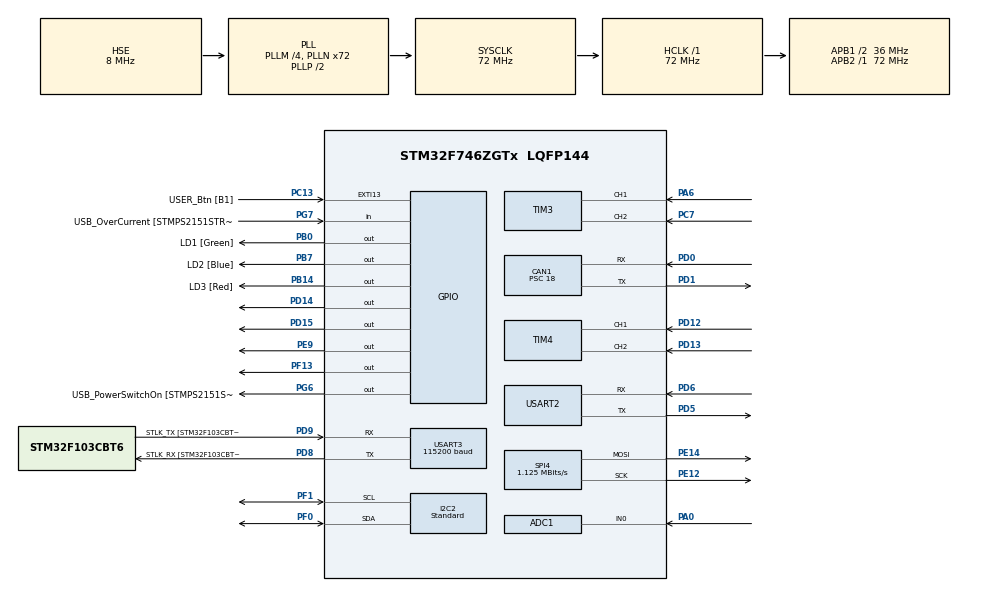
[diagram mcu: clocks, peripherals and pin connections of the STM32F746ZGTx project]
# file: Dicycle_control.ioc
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ADC1.Channel-0\#ChannelRegularConversion=ADC_CHANNEL_0
ADC1.ClockPrescaler=ADC_CLOCK_SYNC_PCLK_DIV4
ADC1.ContinuousConvMode=ENABLE
ADC1.DMAContinuousRequests=ENABLE
ADC1.DiscontinuousConvMode=DISABLE
ADC1.ExternalTrigConv=ADC_SOFTWARE_START
ADC1.NbrOfConversion=1
ADC1.NbrOfConversionFlag=1
ADC1.Rank-0\#ChannelRegularConversion=1
ADC1.SamplingTime-0\#ChannelRegularConversion=ADC_SAMPLETIME_480CYCLES
ADC1.ScanConvMode=ADC_SCAN_ENABLE
ADC1.master=1
CAN1.BS1=CAN_BS1_2TQ
CAN1.CalculateBaudRate=500000
CAN1.CalculateTimeBit=2000
CAN1.CalculateTimeQuantum=500.0
CAN1.Prescaler=18
Dma.ADC1.0.Direction=DMA_PERIPH_TO_MEMORY
Dma.ADC1.0.FIFOMode=DMA_FIFOMODE_DISABLE
Dma.ADC1.0.Instance=DMA2_Stream0
Dma.ADC1.0.MemDataAlignment=DMA_MDATAALIGN_HALFWORD
Dma.ADC1.0.MemInc=DMA_MINC_ENABLE
Dma.ADC1.0.Mode=DMA_CIRCULAR
Dma.ADC1.0.PeriphDataAlignment=DMA_PDATAALIGN_HALFWORD
Dma.ADC1.0.PeriphInc=DMA_PINC_DISABLE
Dma.ADC1.0.Priority=DMA_PRIORITY_LOW
Dma.Request0=ADC1
Dma.Request1=USART2_RX
Dma.Request2=USART3_TX
Dma.USART2_RX.1.Direction=DMA_PERIPH_TO_MEMORY
Dma.USART2_RX.1.FIFOMode=DMA_FIFOMODE_DISABLE
Dma.USART2_RX.1.Instance=DMA1_Stream5
Dma.USART2_RX.1.MemDataAlignment=DMA_MDATAALIGN_BYTE
Dma.USART2_RX.1.MemInc=DMA_MINC_ENABLE
Dma.USART2_RX.1.Mode=DMA_NORMAL
Dma.USART2_RX.1.PeriphDataAlignment=DMA_PDATAALIGN_BYTE
Dma.USART2_RX.1.PeriphInc=DMA_PINC_DISABLE
Dma.USART2_RX.1.Priority=DMA_PRIORITY_LOW
Dma.USART3_TX.2.Direction=DMA_MEMORY_TO_PERIPH
Dma.USART3_TX.2.FIFOMode=DMA_FIFOMODE_DISABLE
Dma.USART3_TX.2.Instance=DMA1_Stream3
Dma.USART3_TX.2.MemDataAlignment=DMA_MDATAALIGN_BYTE
Dma.USART3_TX.2.MemInc=DMA_MINC_ENABLE
Dma.USART3_TX.2.Mode=DMA_NORMAL
Dma.USART3_TX.2.PeriphDataAlignment=DMA_PDATAALIGN_BYTE
Dma.USART3_TX.2.PeriphInc=DMA_PINC_DISABLE
Dma.USART3_TX.2.Priority=DMA_PRIORITY_MEDIUM
I2C2.I2C_Speed_Mode=I2C_Standard
I2C2.Timing=0x00808CD2
Mcu.Family=STM32F7
Mcu.Name=STM32F746ZGTx
Mcu.Package=LQFP144
NVIC.ADC_IRQn=true\:0\:0\:false\:false\:true\:true\:true\:true
NVIC.CAN1_RX0_IRQn=true\:0\:0\:false\:false\:true\:true\:true\:true
NVIC.DMA1_Stream3_IRQn=true\:0\:0\:false\:false\:true\:false\:true\:true
NVIC.DMA1_Stream5_IRQn=true\:0\:0\:false\:false\:true\:false\:true\:true
NVIC.DMA2_Stream0_IRQn=true\:0\:0\:false\:false\:true\:false\:true\:true
NVIC.EXTI15_10_IRQn=true\:0\:0\:false\:false\:true\:true\:true\:true
NVIC.PriorityGroup=NVIC_PRIORITYGROUP_4
NVIC.SPI4_IRQn=true\:0\:0\:false\:false\:true\:true\:true\:true
NVIC.TIM1_UP_TIM10_IRQn=true\:2\:0\:true\:false\:true\:true\:true\:true
NVIC.TIM5_IRQn=true\:0\:0\:false\:false\:true\:true\:true\:true
NVIC.TIM6_DAC_IRQn=true\:0\:0\:false\:false\:true\:true\:true\:true
NVIC.TIM7_IRQn=true\:0\:0\:false\:false\:true\:true\:true\:true
NVIC.USART2_IRQn=true\:0\:0\:true\:false\:true\:true\:true\:true
NVIC.USART3_IRQn=true\:3\:0\:true\:false\:true\:true\:true\:true
PA0/WKUP.Signal=ADCx_IN0
PA1.GPIO_Label=RMII_REF_CLK [LAN8742A-CZ-TR_REFCLK0]
PA1.Signal=ETH_REF_CLK
PA10.GPIO_Label=USB_ID
PA10.Signal=USB_OTG_FS_ID
PA11.GPIO_Label=USB_DM
PA11.Signal=USB_OTG_FS_DM
PA12.GPIO_Label=USB_DP
PA12.Signal=USB_OTG_FS_DP
PA13.GPIO_Label=TMS
PA13.Mode=Serial_Wire
PA13.Signal=SYS_JTMS-SWDIO
PA14.GPIO_Label=TCK
PA14.Mode=Serial_Wire
PA14.Signal=SYS_JTCK-SWCLK
PA2.GPIO_Label=RMII_MDIO [LAN8742A-CZ-TR_MDIO]
PA2.Signal=ETH_MDIO
PA6.Signal=S_TIM3_CH1
PA7.GPIO_Label=RMII_CRS_DV [LAN8742A-CZ-TR_CRS_DV]
PA7.Signal=ETH_CRS_DV
PA8.GPIO_Label=USB_SOF [TP1]
PA8.Signal=USB_OTG_FS_SOF
PA9.GPIO_Label=USB_VBUS
PA9.Signal=USB_OTG_FS_VBUS
PB0.GPIO_Label=LD1 [Green]
PB0.Signal=GPIO_Output
PB13.GPIO_Label=RMII_TXD1 [LAN8742A-CZ-TR_TXD1]
PB13.Signal=ETH_TXD1
PB14.GPIO_Label=LD3 [Red]
PB14.Signal=GPIO_Output
PB3.GPIO_Label=SW0
PB3.Signal=SYS_JTDO-SWO
PB7.GPIO_Label=LD2 [Blue]
PB7.Signal=GPIO_Output
PC1.GPIO_Label=RMII_MDC [LAN8742A-CZ-TR_MDC]
PC1.Signal=ETH_MDC
PC13.GPIO_Label=USER_Btn [B1]
PC13.Signal=GPXTI13
PC14/OSC32_IN.Mode=LSE-External-Oscillator
PC14/OSC32_IN.Signal=RCC_OSC32_IN
PC15/OSC32_OUT.Mode=LSE-External-Oscillator
PC15/OSC32_OUT.Signal=RCC_OSC32_OUT
PC4.GPIO_Label=RMII_RXD0 [LAN8742A-CZ-TR_RXD0]
PC4.Signal=ETH_RXD0
PC5.GPIO_Label=RMII_RXD1 [LAN8742A-CZ-TR_RXD1]
PC5.Signal=ETH_RXD1
PC7.Signal=S_TIM3_CH2
PD0.Mode=CAN_Activate
PD0.Signal=CAN1_RX
PD1.Mode=CAN_Activate
PD1.Signal=CAN1_TX
PD12.Signal=S_TIM4_CH1
PD13.Signal=S_TIM4_CH2
PD14.Signal=GPIO_Output
PD15.Signal=GPIO_Output
PD5.Mode=Asynchronous
PD5.Signal=USART2_TX
PD6.Mode=Asynchronous
PD6.Signal=USART2_RX
PD8.GPIO_Label=STLK_RX [STM32F103CBT6_PA3]
PD8.GPIO_PuPd=GPIO_PULLUP
PD8.Mode=Asynchronous
PD8.Signal=USART3_TX
PD9.GPIO_Label=STLK_TX [STM32F103CBT6_PA2]
PD9.GPIO_PuPd=GPIO_PULLUP
PD9.Mode=Asynchronous
PD9.Signal=USART3_RX
PE12.Mode=TX_Only_Simplex_Unidirect_Master
PE12.Signal=SPI4_SCK
PE14.Mode=TX_Only_Simplex_Unidirect_Master
PE14.Signal=SPI4_MOSI
PE9.Signal=GPIO_Output
PF0.Mode=I2C
PF0.Signal=I2C2_SDA
PF1.Mode=I2C
PF1.Signal=I2C2_SCL
PF13.Signal=GPIO_Output
PG11.GPIO_Label=RMII_TX_EN [LAN8742A-CZ-TR_TXEN]
PG11.Signal=ETH_TX_EN
PG13.GPIO_Label=RMII_TXD0 [LAN8742A-CZ-TR_TXD0]
PG13.Signal=ETH_TXD0
PG6.GPIO_Label=USB_PowerSwitchOn [STMPS2151STR_EN]
PG6.Signal=GPIO_Output
PG7.GPIO_Label=USB_OverCurrent [STMPS2151STR_FAULT]
PG7.Signal=GPIO_Input
PH0/OSC_IN.GPIO_Label=MCO [STM32F103CBT6_PA8]
PH0/OSC_IN.Mode=HSE-External-Oscillator
PH0/OSC_IN.Signal=RCC_OSC_IN
PH1/OSC_OUT.Mode=HSE-External-Oscillator
PH1/OSC_OUT.Signal=RCC_OSC_OUT
ProjectManager.HeapSize=0x200
ProjectManager.StackSize=0x400
ProjectManager.TargetToolchain=STM32CubeIDE
RCC.48MHZClocksFreq_Value=24000000
RCC.AHBFreq_Value=72000000
RCC.APB1CLKDivider=RCC_HCLK_DIV2
RCC.APB1Freq_Value=36000000
RCC.APB1TimFreq_Value=72000000
RCC.APB2Freq_Value=72000000
RCC.APB2TimFreq_Value=72000000
RCC.CortexFreq_Value=72000000
RCC.HCLKFreq_Value=72000000
RCC.HSE_VALUE=8000000
RCC.HSI_VALUE=16000000
RCC.PLLM=4
RCC.PLLMUL=RCC_PLL_MUL9
RCC.PLLN=72
RCC.PLLQ=3
RCC.PLLSourceVirtual=RCC_PLLSOURCE_HSE
RCC.PRESCALERUSB=RCC_USBCLKSOURCE_PLL_DIV1_5
RCC.SYSCLKFreq_VALUE=72000000
RCC.SYSCLKSource=RCC_SYSCLKSOURCE_PLLCLK
RCC.SYSCLKSourceVirtual=RCC_SYSCLKSOURCE_PLLCLK
RCC.USBFreq_Value=48000000
RCC.VCOOutputFreq_Value=144000000
SH.ADCx_IN0.0=ADC1_IN0,IN0
SH.S_TIM3_CH1.0=TIM3_CH1,Encoder_Interface
SH.S_TIM3_CH2.0=TIM3_CH2,Encoder_Interface
SH.S_TIM4_CH1.0=TIM4_CH1,Encoder_Interface
SH.S_TIM4_CH2.0=TIM4_CH2,Encoder_Interface
SPI4.BaudRatePrescaler=SPI_BAUDRATEPRESCALER_64
SPI4.CLKPhase=SPI_PHASE_1EDGE
SPI4.CLKPolarity=SPI_POLARITY_LOW
SPI4.CalculateBaudRate=1.125 MBits/s
SPI4.DataSize=SPI_DATASIZE_8BIT
SPI4.Direction=SPI_DIRECTION_2LINES
SPI4.Mode=SPI_MODE_MASTER
SPI4.VirtualType=VM_MASTER
TIM1.Period=1999
TIM1.Prescaler=719
TIM3.EncoderMode=TIM_ENCODERMODE_TI12
TIM4.EncoderMode=TIM_ENCODERMODE_TI12
TIM5.Period=1999
TIM5.Prescaler=719
TIM6.Period=19999
TIM6.Prescaler=719
TIM7.Period=19999
TIM7.Prescaler=71
USART2.VirtualMode-Asynchronous=VM_ASYNC
USART3.BaudRate=115200
USART3.VirtualMode-Asynchronous=VM_ASYNC
VP_TIM1_VS_ClockSourceINT.Mode=Internal
VP_TIM5_VS_ClockSourceINT.Mode=Internal
VP_TIM6_VS_ClockSourceINT.Mode=Enable_Timer
VP_TIM7_VS_ClockSourceINT.Mode=Enable_Timer
board=NUCLEO-F746ZG

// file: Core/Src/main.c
/* USER CODE BEGIN Header */
/**
 ******************************************************************************
 * @file           : main.c
 * @brief          : Main program body
 ******************************************************************************
 */
/* USER CODE END Header */
#include "main.h"
#include "adc.h"
#include "can.h"
#include "dma.h"
#include "i2c.h"
#include "spi.h"
#include "tim.h"
#include "usart.h"
#include "gpio.h"

/* USER CODE BEGIN Includes */
#include "string.h"
#include "stdio.h"
#include "stdlib.h"
#include "stdint.h"
#include "math.h"
#include "stdbool.h"
#include "mpu6050.h"

/* USER CODE END Includes */

/* USER CODE BEGIN PD */

#define PI 3.14159265359
#define TIMER_FREQ_HZ 1000
#define DT 0.02f
#define SMOOTHING_FACTOR 0.6f //rozwazyc zwiekszenie nawet do 0.8f lub wyeliminowanie

static float filteredAxis = 0.0f;
static float filteredThrottle = 0.0f;
static float filteredBrake = 0.0f;
float raw_val=0.0f;

#define LCD_CS_PORT   GPIOE
#define LCD_CS_PIN    GPIO_PIN_9
#define LCD_DC_PORT   GPIOF
#define LCD_DC_PIN    GPIO_PIN_13
#define LCD_RES_PORT  GPIOD
#define LCD_RES_PIN   GPIO_PIN_15
#define LCD_BLK_PORT  GPIOD
#define LCD_BLK_PIN   GPIO_PIN_14

/* USER CODE END PD */

/* USER CODE BEGIN PM */

#define LCD_CS_LOW()   HAL_GPIO_WritePin(LCD_CS_PORT, LCD_CS_PIN, GPIO_PIN_RESET)
#define LCD_CS_HIGH()  HAL_GPIO_WritePin(LCD_CS_PORT, LCD_CS_PIN, GPIO_PIN_SET)
#define LCD_DC_LOW()   HAL_GPIO_WritePin(LCD_DC_PORT, LCD_DC_PIN, GPIO_PIN_RESET)
#define LCD_DC_HIGH()  HAL_GPIO_WritePin(LCD_DC_PORT, LCD_DC_PIN, GPIO_PIN_SET)
#define LCD_RES_LOW()  HAL_GPIO_WritePin(LCD_RES_PORT, LCD_RES_PIN, GPIO_PIN_RESET)
#define LCD_RES_HIGH() HAL_GPIO_WritePin(LCD_RES_PORT, LCD_RES_PIN, GPIO_PIN_SET)
#define LCD_BLK_ON()   HAL_GPIO_WritePin(LCD_BLK_PORT, LCD_BLK_PIN, GPIO_PIN_SET)
#define LCD_BLK_OFF()  HAL_GPIO_WritePin(LCD_BLK_PORT, LCD_BLK_PIN, GPIO_PIN_RESET)

/* USER CODE END PM */

/* USER CODE BEGIN PV */

volatile uint8_t lcdUpdateNeeded = 0;

// --- LOGGING VARIABLES ---
volatile uint8_t uartTxBusy = 0;
volatile uint8_t isLoggingActive = 0; // Flaga stanu zapisu (0 - stop, 1 - nagrywanie)
bool btnXLastState = false;           // Do wykrywania zbocza przycisku X

typedef struct __attribute__((packed)) {
	uint16_t header;
	int32_t val_m1RealCurrent;
	int32_t val_m2RealCurrent;
	int32_t val_m1Current;
	int32_t val_m2Current;
	int32_t val_angleX;
	int32_t val_rawTargetAngle;
	int32_t val_Velocity1;
	int32_t val_Velocity2;
	int32_t val_targetVel1;
	int32_t val_targetVel2;
} SerialDataPacket;

SerialDataPacket txPacket;
// ---------------------------------

//CAN
CAN_TxHeaderTypeDef Tx1Header;
CAN_TxHeaderTypeDef Tx2Header;
uint8_t tx1Data[4];
uint8_t tx2Data[4];
uint32_t Tx1Mailbox;
uint32_t Tx2Mailbox;
CAN_RxHeaderTypeDef RxHeader;
uint8_t RxData[8];

//MPU6050
float angleX, angleY, angleZ;
float Ax, Ay, Az;

// --- PID CONSTANTS ---
// MOTOR 1 (RIGHT / PRAWY)
float M1_Kp = 0.84788f;
float M1_Ki = 0.76984f;
// MOTOR 2 (LEFT / LEWY)
float M2_Kp = 1.01028f;
float M2_Ki = 1.04346f;
// --- PID STATE VARIABLES ---
float m1_integral = 0.0f;
float m1_prev_error = 0.0f;
float m2_integral = 0.0f;
float m2_prev_error = 0.0f;
float targetVelRaw = 0.0f;

// Target Velocity MAX
float MAX_VELOCITY_RAD_S = 30.0f;
//Motor 1 params
float motor1Current;
int32_t motor1CurrentValue;
float motor1DisablingValue;
float motor1RealCurrent;
float inputRealCurrentSamples[21];
int32_t motor1RealDutyCycle;
//Motor 2 params
float motor2Current;
int32_t motor2CurrentValue;
float motor2DisablingValue;
float motor2RealCurrent;
int32_t motor2RealDutyCycle;

int16_t absoluteAxisValue;
//Global variables for control
int16_t axisXValue;
uint16_t throttleValue;
uint16_t brakeValue;

uint8_t btnAValue;
uint8_t btnBValue;
uint8_t btnXValue;
uint8_t btnYValue;

int throttleActive, brakeActive = 0;
//Current limit
float MAX_CURRENT = 20.0;
float MAX_DUTY = 0.95;
// --- MODE CONTROL VARIABLES ---
// 1 = PWM (Duty Cycle), 2 = Current (Speed reg), 3 = Position
uint8_t controlMode = 1;
bool btnYLastState = false;
uint32_t ledCounter = 0;

// --- PWM control ---
float motor1CurrentTarget = 0.0;
float motor2CurrentTarget = 0.0;
float motor1CurrentStep = 0.005;
float motor2CurrentStep = 0.005;
float motorCurrentPrimaryStep = 0.005;
float motorCurrentExtendedStep = 0.01;
// --- Speed regulator
float error1=0.0f;
float error2=0.0f;
float targetVel1=0.0f;
float targetVel2=0.0f;
float brakeFraction=0.0f;
float P1=0.0f;
float P2=0.0f;
float I1=0.0f;
float I2=0.0f;
//float M2_STARTUP_BOOST = 2.0f;

// --- Position regulator
#define IS_DELAY_SAMPLES 35
#define IS_A1 0.539f
#define IS_A2 0.473f

float shaperBuffer[IS_DELAY_SAMPLES];
uint8_t shaperIdx = 0;
float targetAngleShaped = 0.0f;
// Regulator PID dla kąta
float ANG_Kp = 2.237f;
float ANG_Ki = 0.0f;
float ANG_Kd = 1.451f;
float ang_integral = 0.0f;
float ang_prev_error = 0.0f;
// --- ZMIENNE DO STEROWANIA POZYCJĄ (TRYB 3) ---
float initialAngleOffset = 0.0f;
float angle_error = 0.0f;
int16_t initialAxisOffset = 0;
static float filtered_derivative = 0.0f;
volatile float rawTargetAngle=0.0f;

// --- KONFIGURACJA KĄTA ---
#define MAX_TILT_ANGLE 35.0f
#define D_TERM_FILTER_ALPHA 0.6f

// --- KOREKCJA KIERUNKU (SYNC) ---
float sync_Kp = 0.5f;
float sync_error = 0.0f;
float sync_output = 0.0f;

#define SAMPLES_COUNT 21
uint16_t inputThrottleSamples[SAMPLES_COUNT];
uint16_t inputAxisSamples[SAMPLES_COUNT];
uint16_t inputBrakeSamples[SAMPLES_COUNT];
uint16_t VESC1_ID = 0x0000000A;
uint16_t VESC2_ID = 0x0000000B;
uint32_t COMMAND_ID = 0x01 << 8;

char uartData[32];
uint16_t indx;
int32_t temp_val;

uint16_t Encoder1Counter;
float Velocity1;
uint16_t Encoder2Counter;
float Velocity2;
char logString[70];
volatile uint16_t frameNumber = 0;

/* USER CODE END PV */

void SystemClock_Config(void);
/* USER CODE BEGIN PFP */

void LCD_Reset(void);
void LCD_SendCommand(uint8_t cmd);
void LCD_SendData(uint8_t *data, uint16_t size);
void LCD_SetBrightness(uint8_t percent);
void LCD_Init(void);
void LCD_Update(void);
void LCD_DrawString(uint16_t x, uint16_t y, char *str, uint16_t color, uint16_t bg, uint8_t size);
void LCD_Fill(uint16_t color);
void LogData(void); // Prototype for logging

/* USER CODE END PFP */

/* USER CODE BEGIN 0 */

const uint8_t Font5x7[96][5] = {
    {0x00, 0x00, 0x00, 0x00, 0x00}, // SPACE
    {0x00, 0x00, 0x5F, 0x00, 0x00}, // !
    {0x00, 0x07, 0x00, 0x07, 0x00}, // "
    {0x14, 0x7F, 0x14, 0x7F, 0x14}, // #
    {0x24, 0x2A, 0x7F, 0x2A, 0x12}, // $
    {0x23, 0x13, 0x08, 0x64, 0x62}, // %
    {0x36, 0x49, 0x55, 0x22, 0x50}, // &
    {0x00, 0x05, 0x03, 0x00, 0x00}, // '
    {0x00, 0x1C, 0x22, 0x41, 0x00}, // (
    {0x00, 0x41, 0x22, 0x1C, 0x00}, // )
    {0x14, 0x08, 0x3E, 0x08, 0x14}, // *
    {0x08, 0x08, 0x3E, 0x08, 0x08}, // +
    {0x00, 0x50, 0x30, 0x00, 0x00}, // ,
    {0x08, 0x08, 0x08, 0x08, 0x08}, // -
    {0x00, 0x60, 0x60, 0x00, 0x00}, // .
    {0x20, 0x10, 0x08, 0x04, 0x02}, // /
    {0x3E, 0x51, 0x49, 0x45, 0x3E}, // 0
    {0x00, 0x42, 0x7F, 0x40, 0x00}, // 1
    {0x42, 0x61, 0x51, 0x49, 0x46}, // 2
    {0x21, 0x41, 0x45, 0x4B, 0x31}, // 3
    {0x18, 0x14, 0x12, 0x7F, 0x10}, // 4
    {0x27, 0x45, 0x45, 0x45, 0x39}, // 5
    {0x3C, 0x4A, 0x49, 0x49, 0x30}, // 6
    {0x01, 0x71, 0x09, 0x05, 0x03}, // 7
    {0x36, 0x49, 0x49, 0x49, 0x36}, // 8
    {0x06, 0x49, 0x49, 0x29, 0x1E}, // 9
    {0x00, 0x36, 0x36, 0x00, 0x00}, // :
    {0x00, 0x56, 0x36, 0x00, 0x00}, // ;
    {0x08, 0x14, 0x22, 0x41, 0x00}, // <
    {0x14, 0x14, 0x14, 0x14, 0x14}, // =
    {0x00, 0x41, 0x22, 0x14, 0x08}, // >
    {0x02, 0x01, 0x51, 0x09, 0x06}, // ?
    {0x32, 0x49, 0x79, 0x41, 0x3E}, // @
    {0x7E, 0x11, 0x11, 0x11, 0x7E}, // A
    {0x7F, 0x49, 0x49, 0x49, 0x36}, // B
    {0x3E, 0x41, 0x41, 0x41, 0x22}, // C
    {0x7F, 0x41, 0x41, 0x22, 0x1C}, // D
    {0x7F, 0x49, 0x49, 0x49, 0x41}, // E
    {0x7F, 0x09, 0x09, 0x09, 0x01}, // F
    {0x3E, 0x41, 0x49, 0x49, 0x7A}, // G
    {0x7F, 0x08, 0x08, 0x08, 0x7F}, // H
    {0x00, 0x41, 0x7F, 0x41, 0x00}, // I
    {0x20, 0x40, 0x41, 0x3F, 0x01}, // J
    {0x7F, 0x08, 0x14, 0x22, 0x41}, // K
    {0x7F, 0x40, 0x40, 0x40, 0x40}, // L
    {0x7F, 0x02, 0x0C, 0x02, 0x7F}, // M
    {0x7F, 0x04, 0x08, 0x10, 0x7F}, // N
    {0x3E, 0x41, 0x41, 0x41, 0x3E}, // O
    {0x7F, 0x09, 0x09, 0x09, 0x06}, // P
    {0x3E, 0x41, 0x51, 0x21, 0x5E}, // Q
    {0x7F, 0x09, 0x19, 0x29, 0x46}, // R
    {0x46, 0x49, 0x49, 0x49, 0x31}, // S
    {0x01, 0x01, 0x7F, 0x01, 0x01}, // T
    {0x3F, 0x40, 0x40, 0x40, 0x3F}, // U
    {0x1F, 0x20, 0x40, 0x20, 0x1F}, // V
    {0x3F, 0x40, 0x38, 0x40, 0x3F}, // W
    {0x63, 0x14, 0x08, 0x14, 0x63}, // X
    {0x07, 0x08, 0x70, 0x08, 0x07}, // Y
    {0x61, 0x51, 0x49, 0x45, 0x43}, // Z
    {0x00, 0x7F, 0x41, 0x41, 0x00}, // [
    {0x02, 0x04, 0x08, 0x10, 0x20}, // \ //
    {0x00, 0x41, 0x41, 0x7F, 0x00}, // ]
    {0x04, 0x02, 0x01, 0x02, 0x04}, // ^
    {0x40, 0x40, 0x40, 0x40, 0x40}, // _
    {0x00, 0x01, 0x02, 0x04, 0x00}, // `
    {0x20, 0x54, 0x54, 0x54, 0x78}, // a
    {0x7F, 0x48, 0x44, 0x44, 0x38}, // b
    {0x38, 0x44, 0x44, 0x44, 0x20}, // c
    {0x38, 0x44, 0x44, 0x48, 0x7F}, // d
    {0x38, 0x54, 0x54, 0x54, 0x18}, // e
    {0x08, 0x7E, 0x09, 0x01, 0x02}, // f
    {0x0C, 0x52, 0x52, 0x52, 0x3E}, // g
    {0x7F, 0x08, 0x04, 0x04, 0x78}, // h
    {0x00, 0x44, 0x7D, 0x40, 0x00}, // i
    {0x20, 0x40, 0x44, 0x3D, 0x00}, // j
    {0x7F, 0x10, 0x28, 0x44, 0x00}, // k
    {0x00, 0x41, 0x7F, 0x40, 0x00}, // l
    {0x7C, 0x04, 0x18, 0x04, 0x78}, // m
    {0x7C, 0x08, 0x04, 0x04, 0x78}, // n
    {0x38, 0x44, 0x44, 0x44, 0x38}, // o
    {0x7C, 0x14, 0x14, 0x14, 0x08}, // p
    {0x08, 0x14, 0x14, 0x18, 0x7C}, // q
    {0x7C, 0x08, 0x04, 0x04, 0x08}, // r
    {0x48, 0x54, 0x54, 0x54, 0x20}, // s
    {0x04, 0x3F, 0x44, 0x40, 0x20}, // t
    {0x3C, 0x40, 0x40, 0x20, 0x7C}, // u
    {0x1C, 0x20, 0x40, 0x20, 0x1C}, // v
    {0x3C, 0x40, 0x30, 0x40, 0x3C}, // w
    {0x44, 0x28, 0x10, 0x28, 0x44}, // x
    {0x0C, 0x50, 0x50, 0x50, 0x3C}, // y
    {0x44, 0x64, 0x54, 0x4c, 0x44}, // z
    {0x00, 0x08, 0x36, 0x41, 0x00}, // {
    {0x00, 0x00, 0x7F, 0x00, 0x00}, // |
    {0x00, 0x41, 0x36, 0x08, 0x00}, // }
    {0x10, 0x08, 0x08, 0x10, 0x08}  // ~
};

void LCD_Reset(void)
{
    LCD_RES_LOW();
    HAL_Delay(20);
    LCD_RES_HIGH();
    HAL_Delay(120);
}

void LCD_SendCommand(uint8_t cmd)
{
    LCD_CS_LOW();
    LCD_DC_LOW();
    HAL_SPI_Transmit(&hspi4, &cmd, 1, 100);
    LCD_CS_HIGH();
}

void LCD_SendData(uint8_t *data, uint16_t size)
{
    LCD_CS_LOW();
    LCD_DC_HIGH();
    HAL_SPI_Transmit(&hspi4, data, size, 100);
    LCD_CS_HIGH();
}

void LCD_SetAddressWindow(uint16_t x0, uint16_t y0, uint16_t x1, uint16_t y1) {
    uint8_t data[4];
    LCD_SendCommand(0x2A);
    data[0] = (x0 >> 8) & 0xFF;
    data[1] = x0 & 0xFF;
    data[2] = (x1 >> 8) & 0xFF;
    data[3] = x1 & 0xFF;
    LCD_SendData(data, 4);

    LCD_SendCommand(0x2B);
    data[0] = (y0 >> 8) & 0xFF;
    data[1] = y0 & 0xFF;
    data[2] = (y1 >> 8) & 0xFF;
    data[3] = y1 & 0xFF;
    LCD_SendData(data, 4);

    LCD_SendCommand(0x2C);
}

void LCD_DrawChar(uint16_t x, uint16_t y, char c, uint16_t color, uint16_t bg, uint8_t size) {
    if (c < 32 || c > 126) c = 32;
    uint8_t index = c - 32;

    uint16_t width = 5 * size;
    uint16_t height = 7 * size;

    LCD_SetAddressWindow(x, y, x + width - 1, y + height - 1);

    uint8_t buffer[1200];
    uint32_t bufIdx = 0;

    for (int row = 0; row < 7; row++) {
        for (int sy = 0; sy < size; sy++) {
            for (int col = 0; col < 5; col++) {
                uint8_t pixelOn = (Font5x7[index][col] >> row) & 0x01;
                uint16_t pixelColor = pixelOn ? color : bg;

                for (int sx = 0; sx < size; sx++) {
                    buffer[bufIdx++] = (pixelColor >> 8) & 0xFF;
                    buffer[bufIdx++] = pixelColor & 0xFF;
                }
            }
        }
    }
    LCD_SendData(buffer, bufIdx);
}

void LCD_DrawString(uint16_t x, uint16_t y, char *str, uint16_t color, uint16_t bg, uint8_t size) {
    while (*str) {
        LCD_DrawChar(x, y, *str, color, bg, size);
        x += (5 * size) + size; // Szerokość znaku + odstęp
        str++;
    }
}

void LCD_SetBrightness(uint8_t percent)
{
    if (percent > 0) LCD_BLK_ON();
    else LCD_BLK_OFF();
}

void LCD_Init(void)
{
    LCD_CS_HIGH();
    LCD_DC_HIGH();
    LCD_RES_HIGH();
    LCD_BLK_ON();

    LCD_Reset();

    LCD_SendCommand(0x11);
    HAL_Delay(120);

    uint8_t colorMode = 0x55;
    LCD_SendCommand(0x3A);
    LCD_SendData(&colorMode, 1);

    uint8_t rotation = 0x00;
    LCD_SendCommand(0x36);
    LCD_SendData(&rotation, 1);

    LCD_SendCommand(0x21);

    LCD_SendCommand(0x29);
    HAL_Delay(10);
}

void LCD_Update(void) {
    char lcd_buffer[40];
    float avgSpeed = (Velocity1 + Velocity2) / 2.0f;

    // 1. Tryb Pracy (Opisy słowne)
    char *modeStr;
    switch(controlMode) {
        case 1: modeStr = "Tryb 1: PWM"; break;
        case 2: modeStr = "Tryb 2: Speed"; break;
        case 3: modeStr = "Tryb 3: Pos"; break;
        default: modeStr = "Tryb: ???"; break;
    }

    // %-16s wyrównuje do lewej i dodaje spacje, czyszcząc stare znaki
    sprintf(lcd_buffer, "%-16s", modeStr);
    LCD_DrawString(20, 40, lcd_buffer, 0xF800, 0x0000, 2);

    // 2. Prędkość (Odsunięte niżej do Y=100)
    sprintf(lcd_buffer, "Predkosc: %.1f  ", avgSpeed);
    LCD_DrawString(20, 100, lcd_buffer, 0xFFE0, 0x0000, 2);

    // 3. Kąt (NOWE! Y=160, Kolor Zielony)
    sprintf(lcd_buffer, "Kat: %.1f      ", angleX);
    LCD_DrawString(20, 160, lcd_buffer, 0x07E0, 0x0000, 2);

    // 4. Stopka (Zalezy od stanu logowania)
    if (isLoggingActive) {
        sprintf(lcd_buffer, "Wcisnij X aby    ");
        LCD_DrawString(20, 260, lcd_buffer, 0xFFFF, 0x0000, 1);
        sprintf(lcd_buffer, "zakonczyc zapis  ");
        LCD_DrawString(20, 280, lcd_buffer, 0x07E0, 0x0000, 1); // Zielony
    } else {
        sprintf(lcd_buffer, "Wcisnij X aby    ");
        LCD_DrawString(20, 260, lcd_buffer, 0xFFFF, 0x0000, 1);
        sprintf(lcd_buffer, "rozpoczac zapis  ");
        LCD_DrawString(20, 280, lcd_buffer, 0xFFFF, 0x0000, 1); // Bialy
    }
}

void LCD_Fill(uint16_t color) {
    LCD_SetAddressWindow(0, 0, 240, 320);
    uint8_t buffer[240 * 2];
    for(int i=0; i<240; i++) {
        buffer[i*2] = (color >> 8) & 0xFF;
        buffer[i*2+1] = color & 0xFF;
    }
    LCD_CS_LOW();
    LCD_DC_HIGH();
    for(int i=0; i<320; i++) {
        HAL_SPI_Transmit(&hspi4, buffer, 480, 100);
    }
    LCD_CS_HIGH();
}

void CANStart() {
	Tx1Header.DLC = 4;
	Tx1Header.IDE = CAN_ID_EXT;
	Tx1Header.RTR = CAN_RTR_DATA;
	Tx1Header.ExtId = VESC1_ID | COMMAND_ID;
	Tx2Header.DLC = 4;
	Tx2Header.IDE = CAN_ID_EXT;
	Tx2Header.RTR = CAN_RTR_DATA;
	Tx2Header.ExtId = VESC2_ID | COMMAND_ID;

	CAN_FilterTypeDef canfilterconfig;
	canfilterconfig.FilterActivation = CAN_FILTER_ENABLE;
	canfilterconfig.FilterBank = 18;
	canfilterconfig.FilterFIFOAssignment = CAN_FILTER_FIFO0;
	canfilterconfig.FilterIdHigh = 0;
	canfilterconfig.FilterIdLow = 0x000;
	canfilterconfig.FilterMaskIdHigh = 0;
	canfilterconfig.FilterMaskIdLow = 0x0000;
	canfilterconfig.FilterMode = CAN_FILTERMODE_IDMASK;
	canfilterconfig.FilterScale = CAN_FILTERSCALE_32BIT;
	canfilterconfig.SlaveStartFilterBank = 20;

	HAL_CAN_ConfigFilter(&hcan1, &canfilterconfig);
}

// --- LOGGING CALLBACK & FUNCTION (ADDED) ---
void HAL_UART_TxCpltCallback(UART_HandleTypeDef *huart) {
    if (huart->Instance == USART3) {
        uartTxBusy = 0; // Transmisja zakończona, można wysyłać ponownie
    }
}

void LogData() {
    // Jeśli poprzednia transmisja jeszcze trwa, pomiń tę ramkę
    if (uartTxBusy == 1) {
        return;
    }

    txPacket.header = 0xABCD;
    // W starym kodzie wartości były w int32 (float * 1000). Konwertujemy w locie.
    txPacket.val_m1RealCurrent = (int32_t)(motor1RealCurrent * 1000.0f);
    txPacket.val_m2RealCurrent = (int32_t)(motor2RealCurrent * 1000.0f);
    txPacket.val_m1Current = (int32_t)(motor1Current * 1000.0f);
    txPacket.val_m2Current = (int32_t)(motor2Current * 1000.0f);
    txPacket.val_angleX = (int32_t)(angleX * 1000.0f);
    txPacket.val_rawTargetAngle = (int32_t)(rawTargetAngle * 1000.0f);
    txPacket.val_Velocity1 = (int32_t)(Velocity1 * 1000.0f);
    txPacket.val_Velocity2 = (int32_t)(Velocity2 * 1000.0f);
    txPacket.val_targetVel1 = (int32_t)(targetVel1 * 1000.0f);
    txPacket.val_targetVel2 = (int32_t)(targetVel2 * 1000.0f);

    uartTxBusy = 1;
    // Używamy wersji DMA - nie blokuje procesora!
    if(HAL_UART_Transmit_DMA(&huart3, (uint8_t*)&txPacket, sizeof(SerialDataPacket)) != HAL_OK) {
        uartTxBusy = 0; // Reset flagi w razie błędu
    }
}
// -------------------------------------------

void getVelocity(){
	Encoder1Counter = htim3.Instance->CNT;
	Velocity1 = ((int16_t) Encoder1Counter / 1600.0) * 50.0 * 2 * PI * -1.0;
	Encoder2Counter = htim4.Instance->CNT;
	Velocity2 = ((int16_t) Encoder2Counter / 1600.0) * 50.0 * 2 * PI;
	htim3.Instance->CNT = 0;
	htim4.Instance->CNT = 0;
}

int START_FLAG = 0;
void HAL_GPIO_EXTI_Callback(uint16_t GPIO_Pin) {
	if (GPIO_Pin == USER_Btn_Pin) {
		START_FLAG = 1;
	}
}

void HAL_CAN_RxFifo0MsgPendingCallback(CAN_HandleTypeDef *hcan) {
	if (HAL_CAN_GetRxMessage(hcan, CAN_RX_FIFO0, &RxHeader, RxData) != HAL_OK) {
		Error_Handler();
	}
	if (RxHeader.ExtId == (VESC1_ID | 0x00000900)) {
		motor1RealCurrent =   (float)(((int16_t)(RxData[4]<<8) | RxData[5]) / 10.0);
		motor1RealDutyCycle = (RxData[6]<<8) | RxData[7];
		if((int16_t)motor1RealDutyCycle < 0){
			motor1RealCurrent *= -1;
		}
	}
	else if (RxHeader.ExtId == (VESC2_ID | 0x00000900)) {
		motor2RealCurrent =   (float)(((int16_t)(RxData[4]<<8) | RxData[5]) / 10.0);
		motor2RealDutyCycle = (RxData[6]<<8) | RxData[7];
		if((int16_t)motor2RealDutyCycle < 0){
			motor2RealCurrent *= -1;
		}
	}
}

void HAL_TIM_PeriodElapsedCallback(TIM_HandleTypeDef *htim) {

    if (htim == &htim7) {
        motor1DisablingValue = 0.0;
        motor2DisablingValue = 0.0;

        // --- OBSLUGA LOGOWANIA (BTN X) ---
        if (btnXValue == 1 && !btnXLastState) {
            isLoggingActive = !isLoggingActive; // Zmiana stanu
            lcdUpdateNeeded = 1; // Odswiez LCD natychmiast
        }
        btnXLastState = btnXValue;

        // --- ZMIANA TRYBU PRACY (Przycisk Y) ---
        if (btnYValue == 1 && !btnYLastState) {
            if (fabs(Velocity1) < 0.2 && fabs(Velocity2) < 0.2) {
                controlMode++;
                if (controlMode > 3) controlMode = 1;

                // Reset zmiennych sterowania
                motor1Current = 0; motor2Current = 0;
                motor1CurrentTarget = 0; motor2CurrentTarget = 0;
                m1_integral = 0; m2_integral = 0;
                m1_prev_error = 0; m2_prev_error = 0;
                throttleActive = 0; brakeActive = 0;

                // --- KONFIGURACJA DLA TRYBU 3 (POZYCJA) ---
                if (controlMode == 3) {
                    // 1. Ustaw obecny kat jako zero
                    initialAngleOffset = angleX;

                    // 2. Ustaw obecna pozycje joysticka jako zero
                    initialAxisOffset = axisXValue;

                    // 3. Zresetuj PID i filtry
                    ang_integral = 0.0f;
                    ang_prev_error = 0.0f;
                    filtered_derivative = 0.0f;

                    // 4. Wypelnij bufor shapera nowym katem, aby uniknac szarpniecia
                    //    gdyz shaper pamieta stare wartosci (bliskie 0.0), a nowy cel to np. 5.0
                    for(int i=0; i<IS_DELAY_SAMPLES; i++) {
                        shaperBuffer[i] = initialAngleOffset;
                    }
                    shaperIdx = 0;
                }
                else {
                    // Opcjonalnie reset offsetow dla innych trybow
                    initialAngleOffset = 0.0f;
                    initialAxisOffset = 0;
                }
            }
        }
        btnYLastState = btnYValue;

        ledCounter++;
        uint32_t blinkPeriod;
        if (controlMode == 1) blinkPeriod = 5;
        else if (controlMode == 2) blinkPeriod = 25;
        else blinkPeriod = 50;

        if (ledCounter >= blinkPeriod) {
            HAL_GPIO_TogglePin(LD2_GPIO_Port, LD2_Pin);
            ledCounter = 0;
        }

        if (axisXValue < 0) {
            motor1DisablingValue = absoluteAxisValue / 511.0;
        } else if (axisXValue > 0) {
            motor2DisablingValue = absoluteAxisValue / 512.0;
        }

        if(btnBValue == 1) {
            motor1Current = 0.0; motor2Current = 0.0;
            motor1CurrentTarget = 0.0; motor2CurrentTarget = 0.0;
            m1_integral = 0; m2_integral = 0;
        }
        else {
            //PWM
            if (controlMode == 1) {
                COMMAND_ID = 0x00 << 8;

                if (throttleValue > 0 && brakeActive == 0) {
                    motor1CurrentTarget = (throttleValue / 1023.0 * (1 - motor1DisablingValue));
                    motor2CurrentTarget = (throttleValue / 1023.0 * (1 - motor2DisablingValue));

                    if (motor1CurrentTarget < 0.001 && motor1CurrentTarget > -0.001) motor1CurrentTarget = 0;
                    if (motor2CurrentTarget < 0.001 && motor2CurrentTarget > -0.001) motor2CurrentTarget = 0;
                    throttleActive = 1;
                } else if(throttleValue <= 0 && throttleActive == 1) {
                    throttleActive = 0;
                    motor1CurrentTarget = 0;
                    motor2CurrentTarget = 0;
                }

                if(motor1DisablingValue > 0.01 || motor2DisablingValue > 0.01){
                    motor1CurrentStep = motorCurrentExtendedStep;
                    motor2CurrentStep = motorCurrentExtendedStep;
                } else {
                    motor1CurrentStep = motorCurrentPrimaryStep;
                    motor2CurrentStep = motorCurrentPrimaryStep;
                }

                if (motor1Current * motor1CurrentTarget < 0 && motor2Current * motor2CurrentTarget < 0)
                {
                    motor1CurrentStep = 0.03;
                    motor2CurrentStep = 0.03;
                }
                else if (motor1DisablingValue == 0 && motor2DisablingValue == 0)
                {
                    if((Velocity1 - Velocity2) > 5) {
                        motor1CurrentStep = motorCurrentPrimaryStep;
                        motor2CurrentStep = motorCurrentPrimaryStep * 3;
                    }
                    else if((Velocity1 - Velocity2) < -5) {
                        motor1CurrentStep = motorCurrentPrimaryStep * 3;
                        motor2CurrentStep = motorCurrentPrimaryStep;
                    }
                    else if((Velocity1 - Velocity2) > 2 && (Velocity1 - Velocity2) < 5) {
                        motor1CurrentStep = motorCurrentPrimaryStep;
                        motor2CurrentStep = motorCurrentPrimaryStep * 2;
                    }
                    else if((Velocity1 - Velocity2) < -2 && (Velocity1 - Velocity2) > -5) {
                        motor1CurrentStep = motorCurrentPrimaryStep * 2;
                        motor2CurrentStep = motorCurrentPrimaryStep;
                    }
                    else {
                        motor1CurrentStep = motorCurrentPrimaryStep;
                        motor2CurrentStep = motorCurrentPrimaryStep;
                    }
                }
                else
                {
                    motor1CurrentStep = motorCurrentPrimaryStep;
                    motor2CurrentStep = motorCurrentPrimaryStep;
                }

                if (fabs(motor1CurrentTarget - motor1Current) < motor1CurrentStep) {
                    motor1Current = motor1CurrentTarget;
                } else if ((motor1CurrentTarget - motor1Current) > 0) {
                    motor1Current += motor1CurrentStep;
                } else {
                    motor1Current -= motor1CurrentStep;
                }

                if (fabs(motor2CurrentTarget - motor2Current) < motor2CurrentStep) {
                    motor2Current = motor2CurrentTarget;
                } else if ((motor2CurrentTarget - motor2Current) > 0) {
                    motor2Current += motor2CurrentStep;
                } else {
                    motor2Current -= motor2CurrentStep;
                }

                if (brakeValue > 0 && throttleActive == 0) {
                    motor1CurrentTarget = (-brakeValue / 1023.0 * (1 - motor1DisablingValue));
                    motor2CurrentTarget = (-brakeValue / 1023.0 * (1 - motor2DisablingValue));
                    brakeActive = 1;
                } else if(brakeValue <= 0 && brakeActive == 1) {
                    brakeActive = 0;
                }

                if(motor1Current > MAX_DUTY) motor1Current = MAX_DUTY;
                if(motor1Current < -MAX_DUTY) motor1Current = -MAX_DUTY;
                if(motor2Current > MAX_DUTY) motor2Current = MAX_DUTY;
                if(motor2Current < -MAX_DUTY) motor2Current = -MAX_DUTY;
            }
            //Speed regulator
            else if (controlMode == 2) {
                COMMAND_ID = 0x01 << 8;

                if (brakeValue > 0) {
                    brakeActive = 1;
                    throttleActive = 0;
                    m1_integral = 0;
                    m2_integral = 0;
                    brakeFraction = brakeValue / 1023.0;
                    motor1Current = (-brakeFraction * MAX_CURRENT * (1 - motor1DisablingValue));
                    motor2Current = (-brakeFraction * MAX_CURRENT * (1 - motor2DisablingValue));
                }
                else {
                    brakeActive = 0;
                    // UWAGA: Usunieto automatyczne ustawianie predkosci na 5 przy wcisnieciu X
                    targetVelRaw = (throttleValue / 1023.0f) * MAX_VELOCITY_RAD_S;

                    targetVel1 = targetVelRaw * (1.0f - motor1DisablingValue);
                    targetVel2 = targetVelRaw * (1.0f - motor2DisablingValue);

                    error1 = targetVel1 - Velocity2;
                    P1 = M1_Kp * error1;
                    m1_integral += (error1 * DT);
                    if (m1_integral > MAX_CURRENT/M1_Ki) m1_integral = MAX_CURRENT/M1_Ki;
                    if (m1_integral < -MAX_CURRENT/M1_Ki) m1_integral = -MAX_CURRENT/M1_Ki;
                    I1 = M1_Ki * m1_integral;
                    m1_prev_error = error1;
                    motor1Current = P1 + I1;

                    error2 = targetVel2 - Velocity1;
                    P2 = M2_Kp * error2;
                    m2_integral += (error2 * DT);
                    if (m2_integral > MAX_CURRENT/M2_Ki) m2_integral = MAX_CURRENT/M2_Ki;
                    if (m2_integral < -MAX_CURRENT/M2_Ki) m2_integral = -MAX_CURRENT/M2_Ki;
                    I2 = M2_Ki * m2_integral;
                    m2_prev_error = error2;
                    motor2Current = P2 + I2;
                }

                if(motor1Current > MAX_CURRENT) motor1Current = MAX_CURRENT;
                if(motor1Current < -MAX_CURRENT) motor1Current = -MAX_CURRENT;
                if(motor2Current > MAX_CURRENT) motor2Current = MAX_CURRENT;
                if(motor2Current < -MAX_CURRENT) motor2Current = -MAX_CURRENT;
            }
            //Position control (TRYB 3)
                        else if (controlMode == 3) {
                            COMMAND_ID = 0x01 << 8;

                            // 1. Oblicz cel (Target)
                            float effectiveAxis = (float)(axisXValue - initialAxisOffset);
                            float joystickDelta = (effectiveAxis / 512.0f) * MAX_TILT_ANGLE;

                            if(fabs(joystickDelta) < 0.5f) joystickDelta = 0.0f;

                            rawTargetAngle = initialAngleOffset + joystickDelta;

                            // 2. Input Shaper (Wygładzanie celu)
                            float delayedInput = shaperBuffer[shaperIdx];
                            shaperBuffer[shaperIdx] = rawTargetAngle;

                            shaperIdx++;
                            if (shaperIdx >= IS_DELAY_SAMPLES) shaperIdx = 0;

                            targetAngleShaped = (IS_A1 * rawTargetAngle) + (IS_A2 * delayedInput);

                            // 3. Oblicz błąd
                            angle_error = targetAngleShaped - angleX;

                            // 4. PID (Bez zbędnego Tolerace/Deadzone)

                            // --- P (Proporcjonalny) ---
                            float P_out = ANG_Kp * angle_error;

                            // --- I (Całkujący) ---
                            ang_integral += (angle_error * DT);

                            // Limit całki (anti-windup)
                            float integral_limit = MAX_CURRENT / 2.0f;
                            // Zabezpieczenie przed dzieleniem przez zero, gdybyś ustawił Ki=0
                            if (ANG_Ki > 0.0001f) integral_limit = MAX_CURRENT / ANG_Ki;

                            if (ang_integral > integral_limit) ang_integral = integral_limit;
                            if (ang_integral < -integral_limit) ang_integral = -integral_limit;

                            float I_out = ANG_Ki * ang_integral;

                            // --- D (Różniczkujący z filtrem) ---
                            // Liczymy pochodną zawsze, żeby filtr pracował ciągle
                            float raw_derivative = (angle_error - ang_prev_error) / DT;

                            // Filtr dolnoprzepustowy (Twoja stała 0.6f jest już OK)
                            filtered_derivative = (D_TERM_FILTER_ALPHA * raw_derivative) + ((1.0f - D_TERM_FILTER_ALPHA) * filtered_derivative);

                            float D_out = ANG_Kd * filtered_derivative;

                            // Zapisz błąd do następnego kroku
                            ang_prev_error = angle_error;

                            // 5. Wyjście na silniki
                            float pid_output = P_out + I_out + D_out;

                            motor1Current = pid_output;
                            motor2Current = pid_output;

                            // Limit prądu
                            if(motor1Current > MAX_CURRENT) motor1Current = MAX_CURRENT;
                            if(motor1Current < -MAX_CURRENT) motor1Current = -MAX_CURRENT;
                            if(motor2Current > MAX_CURRENT) motor2Current = MAX_CURRENT;
                            if(motor2Current < -MAX_CURRENT) motor2Current = -MAX_CURRENT;
                        }
        }

        if (controlMode == 1) {
            motor1CurrentValue = (int32_t)(motor1Current * 100000.0);
            motor2CurrentValue = (int32_t)(motor2Current * 100000.0);
        } else {
            motor1CurrentValue = (int32_t)(motor1Current * 1000.0);
            motor2CurrentValue = (int32_t)(motor2Current * 1000.0);
        }

        Tx1Header.ExtId = VESC1_ID | COMMAND_ID;
        Tx2Header.ExtId = VESC2_ID | COMMAND_ID;

        tx1Data[0] = (motor1CurrentValue >> 24) & 0xFF;
        tx1Data[1] = (motor1CurrentValue >> 16) & 0xFF;
        tx1Data[2] = (motor1CurrentValue >> 8) & 0xFF;
        tx1Data[3] = motor1CurrentValue & 0xFF;

        tx2Data[0] = (motor2CurrentValue >> 24) & 0xFF;
        tx2Data[1] = (motor2CurrentValue >> 16) & 0xFF;
        tx2Data[2] = (motor2CurrentValue >> 8) & 0xFF;
        tx2Data[3] = motor2CurrentValue & 0xFF;

        HAL_CAN_AddTxMessage(&hcan1, &Tx1Header, tx1Data, &Tx1Mailbox);
        HAL_CAN_AddTxMessage(&hcan1, &Tx2Header, tx2Data, &Tx2Mailbox);
    }

    if (htim == &htim1) {
        MPU6050_Read_Accel(&Ax, &Ay, &Az);
        MPU6050_ReadKalmanAngles(&angleX, &angleY);
        absoluteAxisValue = abs(axisXValue);
        getVelocity();

        lcdUpdateNeeded = 1;
        frameNumber++;
    }

    if (htim == &htim5){
        if (isLoggingActive) {
            LogData();
        }
    }
}

void HAL_UARTEx_RxEventCallback(UART_HandleTypeDef *huart, uint16_t Size){
	if (huart->Instance == USART2) {
		indx = Size;

		if(uartData[4] == ':'){
			static char value[5];
			float raw_val_local;
			int32_t current_val_int;

			strncpy(value, uartData, 4);
			value[4] = '\0';
			current_val_int = atoi(value);

			if (current_val_int < -512) raw_val_local = -512.0f;
			else if (current_val_int > 511) raw_val_local = 511.0f;
			else raw_val_local = (float)current_val_int;

			filteredAxis = (SMOOTHING_FACTOR * raw_val_local) + ((1.0f - SMOOTHING_FACTOR) * filteredAxis);
			axisXValue = (int16_t)filteredAxis;

			strncpy(value, uartData + 5, 4);
			value[4] = '\0';
			current_val_int = atoi(value);

			if (current_val_int < 0) raw_val_local = 0.0f;
			else if (current_val_int > 1023) raw_val_local = 1023.0f;
			else raw_val_local = (float)current_val_int;

			filteredThrottle = (SMOOTHING_FACTOR * raw_val_local) + ((1.0f - SMOOTHING_FACTOR) * filteredThrottle);
			throttleValue = (uint16_t)filteredThrottle;

			strncpy(value, uartData + 10, 4);
			value[4] = '\0';
			current_val_int = atoi(value);

			if (current_val_int < 0) raw_val_local = 0.0f;
			else if (current_val_int > 1023) raw_val_local = 1023.0f;
			else raw_val_local = (float)current_val_int;

			filteredBrake = (SMOOTHING_FACTOR * raw_val_local) + ((1.0f - SMOOTHING_FACTOR) * filteredBrake);
			brakeValue = (uint16_t)filteredBrake;

			if(uartData[15] == '1') btnAValue = 1; else btnAValue = 0;
			if(uartData[17] == '1') btnBValue = 1; else btnBValue = 0;
			if(uartData[19] == '1') btnXValue = 1; else btnXValue = 0;
			if(uartData[21] == '1') btnYValue = 1; else btnYValue = 0;
		}

		HAL_UARTEx_ReceiveToIdle_DMA(&huart2, &uartData, 32);
	}
}

void ADC_SetActiveChannel(ADC_HandleTypeDef *hadc, uint32_t AdcChannel) {
	ADC_ChannelConfTypeDef sConfig = { 0 };
	sConfig.Channel = AdcChannel;
	sConfig.Rank = 1;
	sConfig.SamplingTime = ADC_SAMPLETIME_3CYCLES;
	if (HAL_ADC_ConfigChannel(hadc, &sConfig) != HAL_OK) {
		Error_Handler();
	}
}

/* USER CODE END 0 */

int main(void)
{

  /* MCU Configuration--------------------------------------------------------*/

  /* Reset of all peripherals, Initializes the Flash interface and the Systick. */
  HAL_Init();

  /* Configure the system clock */
  SystemClock_Config();

  /* Initialize all configured peripherals */
  MX_GPIO_Init();
  MX_DMA_Init();
  MX_CAN1_Init();
  MX_ADC1_Init();
  MX_USART3_UART_Init();
  MX_USART2_UART_Init();
  MX_I2C2_Init();
  MX_TIM1_Init();
  MX_TIM3_Init();
  MX_TIM4_Init();
  MX_TIM6_Init();
  MX_TIM7_Init();
  MX_SPI4_Init();
  MX_TIM5_Init();
  /* USER CODE BEGIN 2 */
	HAL_CAN_Start(&hcan1);
	CANStart();

	MPU6050_init();

	LCD_Init();
	LCD_SetBrightness(100);
    LCD_Fill(0x0000);
    LCD_Update();

	HAL_TIM_Base_Start_IT(&htim1);
	HAL_TIM_Base_Start_IT(&htim7);
	HAL_TIM_Base_Start_IT(&htim6);
	HAL_TIM_Encoder_Start(&htim3, TIM_CHANNEL_ALL);
	HAL_TIM_Encoder_Start(&htim4, TIM_CHANNEL_ALL);
	HAL_TIM_Base_Start_IT(&htim5);

	__HAL_UART_CLEAR_OREFLAG(&huart2);
	__HAL_UART_CLEAR_NEFLAG(&huart2);
	__HAL_UART_CLEAR_FEFLAG(&huart2);
	__HAL_UART_CLEAR_IDLEFLAG(&huart2);

	HAL_UARTEx_ReceiveToIdle_DMA(&huart2, (uint8_t*)uartData, 32);

	if (HAL_CAN_ActivateNotification(&hcan1, CAN_IT_RX_FIFO0_MSG_PENDING) != HAL_OK){

	}

  /* USER CODE END 2 */

  /* Infinite loop */
  /* USER CODE BEGIN WHILE */
	while (1) {
		if (lcdUpdateNeeded) {
			LCD_Update();
			lcdUpdateNeeded = 0;
		}
    /* USER CODE END WHILE */

	}
}

void SystemClock_Config(void)
{
  RCC_OscInitTypeDef RCC_OscInitStruct = {0};
  RCC_ClkInitTypeDef RCC_ClkInitStruct = {0};

  /** Configure LSE Drive Capability
  */
  HAL_PWR_EnableBkUpAccess();

  /** Configure the main internal regulator output voltage
  */
  __HAL_RCC_PWR_CLK_ENABLE();
  __HAL_PWR_VOLTAGESCALING_CONFIG(PWR_REGULATOR_VOLTAGE_SCALE3);

  /** Initializes the RCC Oscillators according to the specified parameters
  * in the RCC_OscInitTypeDef structure.
  */
  RCC_OscInitStruct.OscillatorType = RCC_OSCILLATORTYPE_HSE;
  RCC_OscInitStruct.HSEState = RCC_HSE_ON;
  RCC_OscInitStruct.PLL.PLLState = RCC_PLL_ON;
  RCC_OscInitStruct.PLL.PLLSource = RCC_PLLSOURCE_HSE;
  RCC_OscInitStruct.PLL.PLLM = 4;
  RCC_OscInitStruct.PLL.PLLN = 72;
  RCC_OscInitStruct.PLL.PLLP = RCC_PLLP_DIV2;
  RCC_OscInitStruct.PLL.PLLQ = 3;
  if (HAL_RCC_OscConfig(&RCC_OscInitStruct) != HAL_OK)
  {
    Error_Handler();
  }

  /** Initializes the CPU, AHB and APB buses clocks
  */
  RCC_ClkInitStruct.ClockType = RCC_CLOCKTYPE_HCLK|RCC_CLOCKTYPE_SYSCLK
                              |RCC_CLOCKTYPE_PCLK1|RCC_CLOCKTYPE_PCLK2;
  RCC_ClkInitStruct.SYSCLKSource = RCC_SYSCLKSOURCE_PLLCLK;
  RCC_ClkInitStruct.AHBCLKDivider = RCC_SYSCLK_DIV1;
  RCC_ClkInitStruct.APB1CLKDivider = RCC_HCLK_DIV2;
  RCC_ClkInitStruct.APB2CLKDivider = RCC_HCLK_DIV1;

  if (HAL_RCC_ClockConfig(&RCC_ClkInitStruct, FLASH_LATENCY_2) != HAL_OK)
  {
    Error_Handler();
  }
}

void Error_Handler(void)
{
	__disable_irq();
	while (1) {
	}
}
